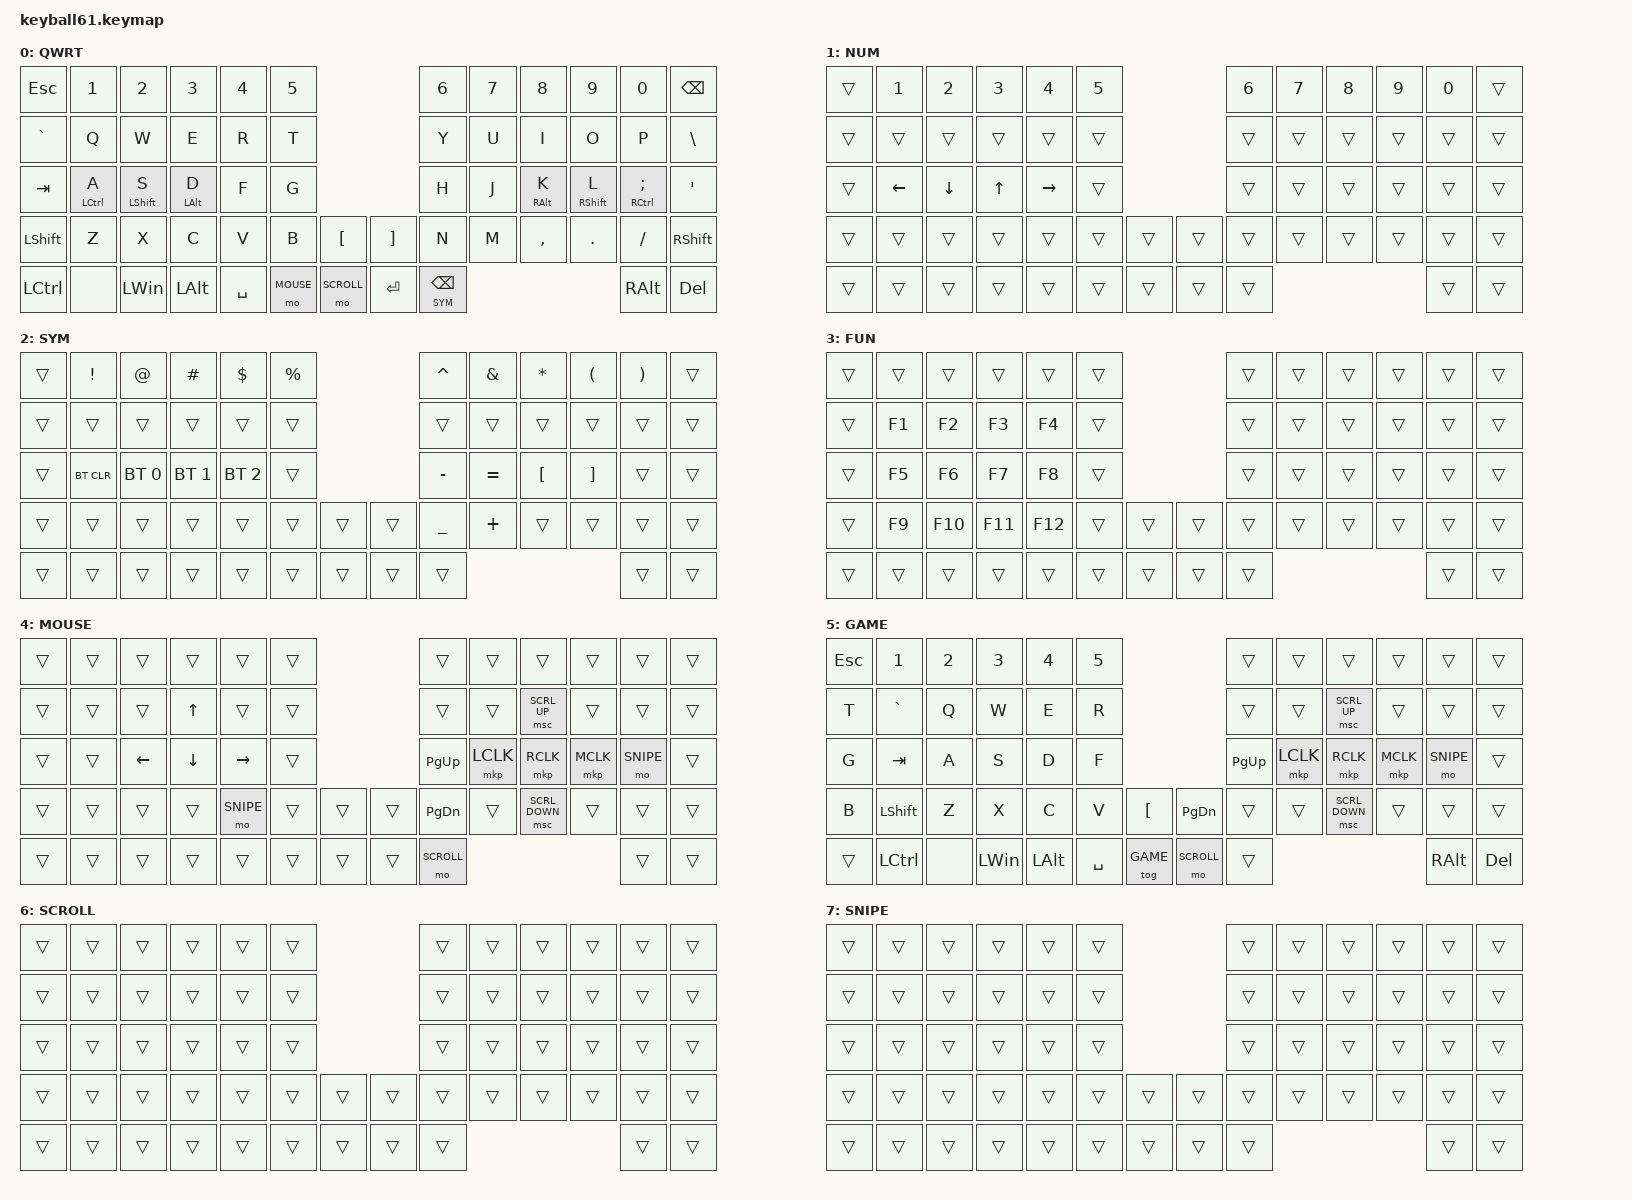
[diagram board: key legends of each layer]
#define DEFAULT 0
#define NUM     1
#define SYM     2
#define FUN     3
#define MOUSE   4
#define GAME    5
#define SCROLL  6
#define SNIPE   7

#include <behaviors/mouse_keys.dtsi>
#include <behaviors.dtsi>
#include <dt-bindings/zmk/bt.h>
#include <dt-bindings/zmk/keys.h>
#include <dt-bindings/zmk/mouse.h>

&lt {
    tapping-term-ms = <240>;
    flavor = "balanced";
    quick-tap-ms = <150>;
};

&mt {
    tapping-term-ms = <200>;
    flavor = "tap-preferred";
    quick-tap-ms = <150>;
};

/ {
    keymap {
        compatible = "zmk,keymap";

        default_layer {
            label = "QWRT";
            bindings = <
&kp ESC         &kp N1       &kp N2            &kp N3        &kp N4     &kp N5                                       &kp N6           &kp N7  &kp N8      &kp N9             &kp N0          &kp BSPC
&kp GRAVE       &kp Q        &kp W             &kp E         &kp R      &kp T                                        &kp Y            &kp U   &kp I       &kp O              &kp P           &kp BACKSLASH
&kp TAB         &mt LCTRL A  &mt LEFT_SHIFT S  &mt LALT D    &kp F      &kp G                                        &kp H            &kp J   &mt RALT K  &mt RIGHT_SHIFT L  &mt RCTRL SEMI  &kp SQT
&kp LEFT_SHIFT  &kp Z        &kp X             &kp C         &kp V      &kp B   &kp LEFT_BRACKET  &kp RIGHT_BRACKET  &kp N            &kp M   &kp COMMA   &kp DOT            &kp FSLH        &kp RIGHT_SHIFT
&kp LCTRL       &none        &kp LEFT_WIN      &kp LEFT_ALT  &kp SPACE  &mo MOUSE  &mo SCROLL        &kp ENTER          &lt SYM BACKSPACE                                         &kp RIGHT_ALT   &kp DELETE
            >;
        };

        number_layer {
            bindings = <
&trans  &kp N1    &kp N2    &kp N3  &kp N4     &kp N5                  &kp N6  &kp N7  &kp N8  &kp N9  &kp N0  &trans
&trans  &trans    &trans    &trans  &trans     &trans                  &trans  &trans  &trans  &trans  &trans  &trans
&trans  &kp LEFT  &kp DOWN  &kp UP  &kp RIGHT  &trans                  &trans  &trans  &trans  &trans  &trans  &trans
&trans  &trans    &trans    &trans  &trans     &trans  &trans  &trans  &trans  &trans  &trans  &trans  &trans  &trans
&trans  &trans    &trans    &trans  &trans     &trans  &trans  &trans  &trans                          &trans  &trans
            >;

            label = "NUM";
        };

        symbol_layer {
            label = "SYM";
            bindings = <
&trans  &kp EXCLAMATION  &kp AT_SIGN   &kp HASH      &kp DOLLAR    &kp PERCENT                  &kp CARET       &kp AMPERSAND  &kp ASTERISK      &kp LEFT_PARENTHESIS  &kp RIGHT_PARENTHESIS  &trans
&trans  &trans           &trans        &trans        &trans        &trans                       &trans          &trans         &trans            &trans                &trans                 &trans
&trans  &bt BT_CLR       &bt BT_SEL 0  &bt BT_SEL 1  &bt BT_SEL 2  &trans                       &kp MINUS       &kp EQUAL      &kp LEFT_BRACKET  &kp RIGHT_BRACKET     &trans                 &trans
&trans  &trans           &trans        &trans        &trans        &trans       &trans  &trans  &kp UNDERSCORE  &kp PLUS       &trans            &trans                &trans                 &trans
&trans  &trans           &trans        &trans        &trans        &trans       &trans  &trans  &trans                                                                 &trans                 &trans
            >;
        };

        function_layer {
            label = "FUN";
            bindings = <
&trans  &trans  &trans   &trans   &trans   &trans                  &trans  &trans  &trans  &trans  &trans  &trans
&trans  &kp F1  &kp F2   &kp F3   &kp F4   &trans                  &trans  &trans  &trans  &trans  &trans  &trans
&trans  &kp F5  &kp F6   &kp F7   &kp F8   &trans                  &trans  &trans  &trans  &trans  &trans  &trans
&trans  &kp F9  &kp F10  &kp F11  &kp F12  &trans  &trans  &trans  &trans  &trans  &trans  &trans  &trans  &trans
&trans  &trans  &trans   &trans   &trans   &trans  &trans  &trans  &trans                          &trans  &trans
            >;
        };

        mouse_layer {
            label = "MOUSE";
            bindings = <
&trans  &trans  &trans    &trans    &trans     &trans                  &trans         &trans     &trans         &trans      &trans     &trans
&trans  &trans  &trans    &kp UP    &trans     &trans                  &trans         &trans     &msc SCRL_UP   &trans      &trans     &trans
&trans  &trans  &kp LEFT  &kp DOWN  &kp RIGHT  &trans                  &kp PAGE_UP    &mkp LCLK  &mkp RCLK      &mkp MCLK   &mo SNIPE  &trans
&trans  &trans  &trans    &trans    &mo SNIPE  &trans  &trans  &trans  &kp PAGE_DOWN  &trans     &msc SCRL_DOWN &trans      &trans     &trans
&trans  &trans  &trans    &trans    &trans     &trans  &trans  &trans  &mo SCROLL                                           &trans     &trans
            >;
        };

        game_layer {
            label = "GAME";
            /* pinky col: ESC/T/G/B; alpha shifted right for WASD stagger */
            bindings = <
&kp ESC         &kp N1       &kp N2       &kp N3       &kp N4       &kp N5                                        &trans         &trans         &trans         &trans         &trans         &trans
&kp T           &kp GRAVE    &kp Q        &kp W        &kp E        &kp R                                         &trans         &trans         &msc SCRL_UP   &trans         &trans         &trans
&kp G           &kp TAB      &kp A        &kp S        &kp D        &kp F                                         &kp PAGE_UP    &mkp LCLK      &mkp RCLK      &mkp MCLK      &mo SNIPE      &trans
&kp B           &kp LSHIFT   &kp Z        &kp X        &kp C        &kp V        &kp LEFT_BRACKET  &kp PAGE_DOWN  &trans         &trans         &msc SCRL_DOWN &trans         &trans         &trans
&trans          &kp LCTRL    &none        &kp LEFT_WIN &kp LEFT_ALT &kp SPACE    &tog GAME         &mo SCROLL     &trans                                       &kp RIGHT_ALT  &kp DELETE
            >;
        };

        scroll_layer {
            label = "SCROLL";
            bindings = <
&trans  &trans  &trans  &trans  &trans  &trans                  &trans  &trans  &trans  &trans  &trans  &trans
&trans  &trans  &trans  &trans  &trans  &trans                  &trans  &trans  &trans  &trans  &trans  &trans
&trans  &trans  &trans  &trans  &trans  &trans                  &trans  &trans  &trans  &trans  &trans  &trans
&trans  &trans  &trans  &trans  &trans  &trans  &trans  &trans  &trans  &trans  &trans  &trans  &trans  &trans
&trans  &trans  &trans  &trans  &trans  &trans  &trans  &trans  &trans                          &trans  &trans
            >;
        };

        snipe_layer {
            label = "SNIPE";
            bindings = <
&trans  &trans  &trans  &trans  &trans  &trans                  &trans  &trans  &trans  &trans  &trans  &trans
&trans  &trans  &trans  &trans  &trans  &trans                  &trans  &trans  &trans  &trans  &trans  &trans
&trans  &trans  &trans  &trans  &trans  &trans                  &trans  &trans  &trans  &trans  &trans  &trans
&trans  &trans  &trans  &trans  &trans  &trans  &trans  &trans  &trans  &trans  &trans  &trans  &trans  &trans
&trans  &trans  &trans  &trans  &trans  &trans  &trans  &trans  &trans                          &trans  &trans
            >;
        };
        /* combos are not yet handled by keymap-drawer parser; hide them when drawing */
#ifndef KEYMAP_DRAWER
        combos {
            compatible = "zmk,combos";

            /* RIGHT_ALT + DELETE -> toggle GAME layer */
            combo_rightalt_delete: combo_0 {
                timeout-ms = <60>;
                key-positions = <59 60>;
                layers = <0>;
                bindings = <&tog GAME>;
            };

            /* On GAME layer pressing the same keys returns to default layer */
            combo_rightalt_delete_game: combo_1 {
                timeout-ms = <60>;
                key-positions = <59 60>;
                layers = <GAME>;
                bindings = <&tog GAME>;
            };
        };
#endif
    };
};
